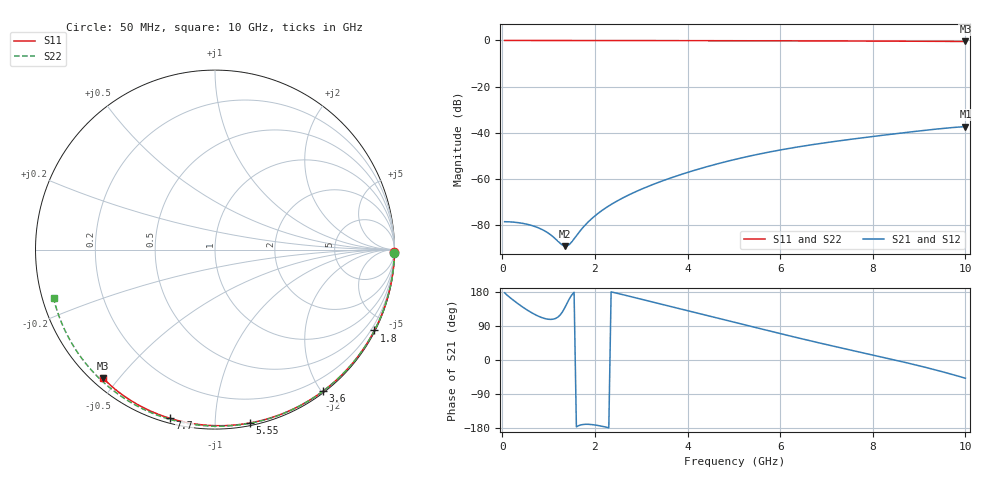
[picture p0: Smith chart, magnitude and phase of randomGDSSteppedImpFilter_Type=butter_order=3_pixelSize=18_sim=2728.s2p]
! freq	dB(S11)	phase(S11)	dB(S12)	phase(S12)
!  dB(S21)	phase(S21)	dB(S22)	phase(S22)
!S-par simulation data
#  GHz  S  DB  R 50
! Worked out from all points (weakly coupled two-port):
!   200 points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, 50 MHz to 10 GHz, reference 50 ohm
!   highest |S21| = -37.26 dB at 10 GHz (marker M1); lowest = -89.0 dB at 1.35 GHz (marker M2)
!   lowest |S11| = -0.4 dB at 10 GHz (marker M3), VSWR 38.67, Z = 1.56 - j22.7 ohm
!   |S11| at or under -10 dB: nowhere
!   |S22| runs from -0.5 to 0.0 dB; largest |S21 - S12| = 0
!   S11 on the Smith chart (normalised r, x): 50 MHz: open; 1.8 GHz: 0.04, -4.18; 3.6 GHz: 0.02, -2.02; 5.55 GHz: 0.02, -1.22; 7.7 GHz: 0.02, -0.77; 10 GHz: 0.03, -0.45
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0.05  -0.00 -0.8  -78.42 177.4  -78.42 177.4  -0.00 -0.9
0.35  -0.00 -5.3  -78.86 147.5  -78.86 147.5  -0.00 -6.6
0.65  -0.01 -9.8  -80.15 123.6  -80.15 123.6  -0.01 -12.3
1.35  -0.02 -20.3  -89.02 138.0  -89.02 138.0  -0.03 -25.3
1.75  -0.03 -26.2  -80.75 -170.1  -80.75 -170.1  -0.04 -32.6
1.8  -0.03 -26.9  -79.66 -169.6  -79.66 -169.6  -0.04 -33.5
1.95  -0.04 -29.1  -76.77 -170.6  -76.77 -170.6  -0.05 -36.2
2.1  -0.04 -31.3  -74.34 -173.6  -74.34 -173.6  -0.05 -38.9
2.25  -0.04 -33.4  -72.24 -177.4  -72.24 -177.4  -0.05 -41.6
2.45  -0.05 -36.3  -69.80 177.0  -69.80 177.0  -0.06 -45.2
2.9  -0.06 -42.8  -65.27 163.4  -65.27 163.4  -0.07 -53.1
3.4  -0.07 -49.8  -61.20 148.4  -61.20 148.4  -0.08 -61.8
3.6  -0.07 -52.6  -59.76 142.4  -59.76 142.4  -0.09 -65.2
4.3  -0.09 -62.1  -55.30 121.3  -55.30 121.3  -0.11 -76.8
5.05  -0.11 -72.1  -51.36 98.6  -51.36 98.6  -0.14 -88.9
5.55  -0.13 -78.5  -49.14 83.3  -49.14 83.3  -0.16 -96.8
6.1  -0.15 -85.5  -47.04 66.8  -47.04 66.8  -0.19 -105.2
6.7  -0.18 -92.9  -45.08 49.2  -45.08 49.2  -0.22 -114.3
7.7  -0.24 -105.0  -42.32 21.3  -42.32 21.3  -0.30 -129.1
8.35  -0.28 -112.6  -40.70 3.5  -40.70 3.5  -0.36 -138.6
9.2  -0.36 -122.3  -38.72 -21.3  -38.72 -21.3  -0.45 -151.2
10  -0.45 -131.1  -37.26 -48.1  -37.26 -48.1  -0.54 -163.2
